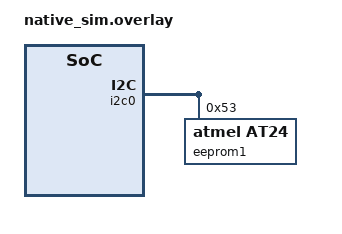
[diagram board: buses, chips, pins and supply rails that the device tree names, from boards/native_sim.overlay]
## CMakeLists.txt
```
# SPDX-License-Identifier: Apache-2.0

cmake_minimum_required(VERSION 3.20.0)
find_package(Zephyr REQUIRED HINTS $ENV{ZEPHYR_BASE})

project(thingset_sdk_storage_eeprom_test)

FILE(GLOB app_sources src/*.c)
target_sources(app PRIVATE ${app_sources})
```

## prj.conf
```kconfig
# Copyright (c) The ThingSet Project Contributors
# SPDX-License-Identifier: Apache-2.0

CONFIG_ZTEST=y
CONFIG_ZTEST_SUMMARY=n

CONFIG_EEPROM=y
CONFIG_ENTROPY_GENERATOR=y

CONFIG_THINGSET=y
CONFIG_THINGSET_SDK=y
CONFIG_THINGSET_SDK_LOG_LEVEL_DBG=y
CONFIG_THINGSET_STORAGE=y

# enable click-able absolute paths in assert messages
CONFIG_BUILD_OUTPUT_STRIP_PATHS=n
```

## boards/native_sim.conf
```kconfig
# Copyright (c) The ThingSet Project Contributors
# SPDX-License-Identifier: Apache-2.0

CONFIG_EMUL=y
CONFIG_I2C=y
CONFIG_I2C_EMUL=y
CONFIG_EEPROM_AT2X_EMUL=y
```

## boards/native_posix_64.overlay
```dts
/*
 * Copyright (c) The ThingSet Project Contributors
 *
 * SPDX-License-Identifier: Apache-2.0
 */

/ {
	chosen {
		thingset,eeprom = &eeprom0;
	};
};
```

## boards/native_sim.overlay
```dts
/*
 * Copyright (c) The ThingSet Project Contributors
 *
 * SPDX-License-Identifier: Apache-2.0
 */

/ {
	chosen {
		thingset,eeprom = &eeprom1;
	};

};

&i2c0 {
	status = "okay";
	eeprom1: eeprom@53 {
		status = "okay";
		compatible = "atmel,at24";
		reg=<0x53>;
		size = <DT_SIZE_K(64)>;
		timeout = <5>;
		pagesize = <16>;
		address-width = <16>;
	};
};
```

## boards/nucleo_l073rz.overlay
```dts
/*
 * Copyright (c) The ThingSet Project Contributors
 *
 * SPDX-License-Identifier: Apache-2.0
 */

/ {
	chosen {
		thingset,eeprom = &eeprom;
	};
};
```

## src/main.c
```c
/*
 * Copyright (c) The ThingSet Project Contributors
 *
 * SPDX-License-Identifier: Apache-2.0
 */

#include <stdlib.h>

#include <zephyr/drivers/eeprom.h>
#include <zephyr/ztest.h>

#include <thingset.h>
#include <thingset/sdk.h>
#include <thingset/storage.h>

#if DT_NODE_EXISTS(DT_CHOSEN(thingset_eeprom))
#define EEPROM_DEVICE_NODE DT_CHOSEN(thingset_eeprom)
#elif DT_NODE_EXISTS(DT_ALIAS(eeprom_0))
#define EEPROM_DEVICE_NODE DT_ALIAS(eeprom_0)
#else
#define EEPROM_DEVICE_NODE DT_NODELABEL(eeprom)
#endif

/* test data objects */
static float test_float = 1234.56F;
static char test_string[] = "Hello World!";

THINGSET_ADD_GROUP(THINGSET_ID_ROOT, 0x200, "Test", THINGSET_NO_CALLBACK);
THINGSET_ADD_ITEM_FLOAT(0x200, 0x201, "sFloat", &test_float, 1, THINGSET_ANY_RW, TS_SUBSET_NVM);
THINGSET_ADD_ITEM_STRING(0x200, 0x202, "sString", test_string, sizeof(test_string), THINGSET_ANY_RW,
                         TS_SUBSET_NVM);

#ifdef CONFIG_THINGSET_STORAGE_EEPROM_PROGRESSIVE_IMPORT_EXPORT

float f32_arr[200] = { -1.1, -2.2, -3.3 };

static THINGSET_DEFINE_FLOAT_ARRAY(f32_arr_item, 1, f32_arr, ARRAY_SIZE(f32_arr));

THINGSET_ADD_ITEM_ARRAY(0x200, 0x203, "sArr", &f32_arr_item, THINGSET_ANY_RW, TS_SUBSET_NVM);

#endif

static void corrupt_data()
{
    const struct device *eeprom_dev = DEVICE_DT_GET(EEPROM_DEVICE_NODE);
    int err;

    uint8_t zeros[4] = { 0 };

    /* write some zeros behind the header to make the CRC calculation fail */
    err = eeprom_write(eeprom_dev, 8, zeros, sizeof(zeros));
    zassert_equal(err, 0, "Failed to corrupt the data");
}

ZTEST(thingset_storage_eeprom, test_save_load)
{
    int err;

    err = thingset_storage_save();
    zassert_equal(err, 0);

    /* change above values */
    test_float = 0.0F;
    test_string[0] = ' ';

    err = thingset_storage_load();
    zassert_equal(err, 0);

    /* check if values were properly restored */
    zassert_equal(test_float, 1234.56F);
    zassert_mem_equal(test_string, "Hello World!", sizeof(test_string));
}

ZTEST(thingset_storage_eeprom, test_save_load_corrupted)
{
    int err;

    err = thingset_storage_save();
    zassert_equal(err, 0);

    /* change above values */
    test_float = 0.0F;
    test_string[0] = ' ';

    corrupt_data();

    err = thingset_storage_load();
#ifdef CONFIG_THINGSET_STORAGE_EEPROM_DUPLICATE
    zassert_equal(err, 0);

    /* check if values were properly restored */
    zassert_equal(test_float, 1234.56F);
    zassert_mem_equal(test_string, "Hello World!", sizeof(test_string));
#else
    zassert_not_equal(err, 0);
#endif
}

static void *thingset_storage_eeprom_setup(void)
{
#ifdef CONFIG_THINGSET_STORAGE_INHIBIT_OVERWRITE
    int err;

    /* verify that EEPROM data is actually corrupted */
    err = thingset_storage_load();
    zassert_not_equal(err, 0);

    /* save without overwriting */
    thingset_storage_save_queued(false);
    k_sleep(K_MSEC(100));

    /* verify that EEPROM data is still corrupted */
    err = thingset_storage_load();
    zassert_not_equal(err, 0);

    /* force-save */
    thingset_storage_save_queued(true);
    k_sleep(K_MSEC(100));

    /* verify that EEPROM data is now valid */
    err = thingset_storage_load();
    zassert_equal(err, 0);
#endif

    return NULL;
}

#ifdef CONFIG_THINGSET_STORAGE_INHIBIT_OVERWRITE
/*
 * The EEPROM data must be corrupted before the ThingSet storage is initialized in order to
 * test the overwrite inhibit.
 */
static int invalidate_eeprom_data(void)
{
    const struct device *eeprom_dev = DEVICE_DT_GET(EEPROM_DEVICE_NODE);
    int err;

    uint8_t bad_data[8] = { 0xD, 0xE, 0xA, 0xD, 0xB, 0xE, 0xE, 0xF };

    err = eeprom_write(eeprom_dev, 0, bad_data, sizeof(bad_data));
    zassert_equal(err, 0, "Failed to write invalid data");

    return 0;
}

SYS_INIT(invalidate_eeprom_data, APPLICATION, 0);
#endif

ZTEST_SUITE(thingset_storage_eeprom, NULL, thingset_storage_eeprom_setup, NULL, NULL, NULL);
```
